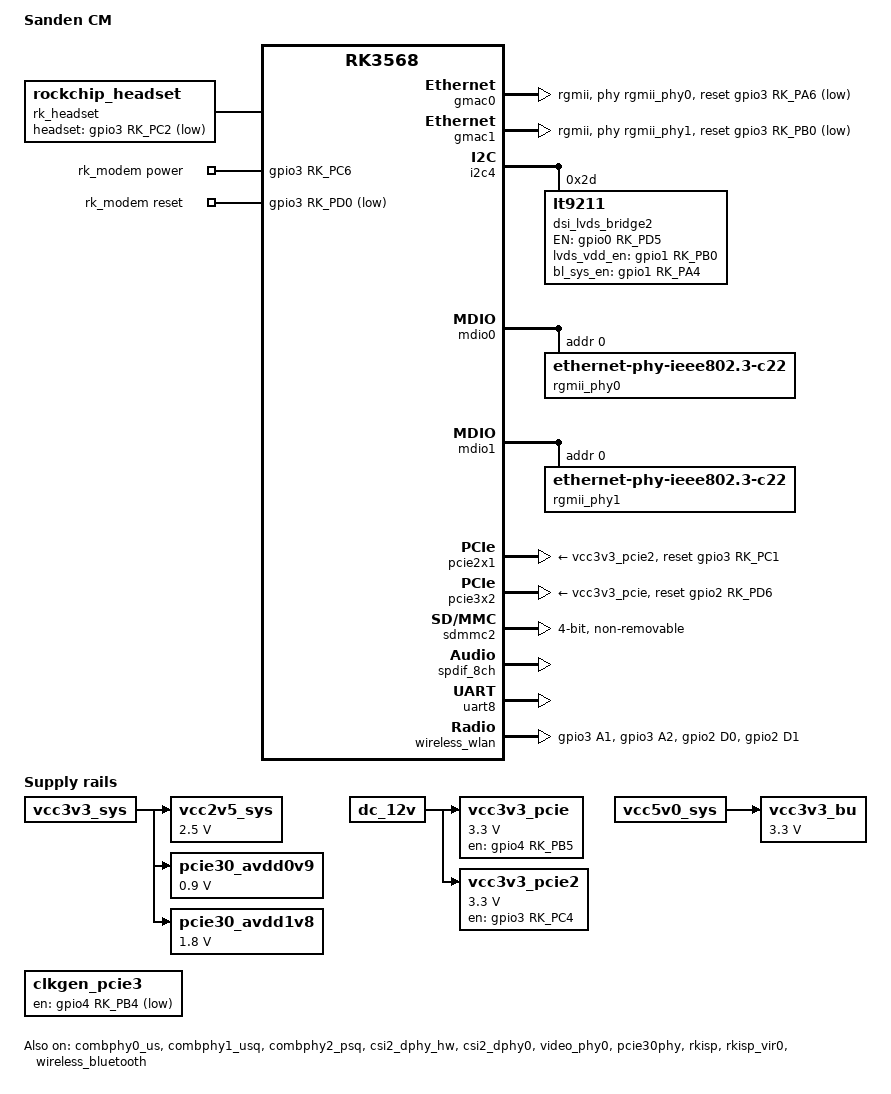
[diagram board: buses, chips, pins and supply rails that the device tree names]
// SPDX-License-Identifier: (GPL-2.0+ OR MIT)
/*
 * Copyright (c) 2020 Rockchip Electronics Co., Ltd.
 *
 */

/dts-v1/;

#include <dt-bindings/gpio/gpio.h>
#include <dt-bindings/pinctrl/rockchip.h>
#include "rk3568.dtsi"
#include "rk3568-sanden_vm-common.dtsi"

/ {
	model = "Sanden CM";
	compatible = "rockchip,rk3568-evb1-ddr4-v10", "rockchip,rk3568";

	rk_headset: rk-headset {
		compatible = "rockchip_headset";
		headset_gpio = <&gpio3 RK_PC2 GPIO_ACTIVE_LOW>;
		pinctrl-names = "default";
		pinctrl-0 = <&hp_det>;
	};

	vcc2v5_sys: vcc2v5-ddr {
		compatible = "regulator-fixed";
		regulator-name = "vcc2v5-sys";
		regulator-always-on;
		regulator-boot-on;
		regulator-min-microvolt = <2500000>;
		regulator-max-microvolt = <2500000>;
		vin-supply = <&vcc3v3_sys>;
	};
/*
	vcc3v3_vga: vcc3v3-vga {
		compatible = "regulator-fixed";
		regulator-name = "vcc3v3_vga";
		regulator-always-on;
		regulator-boot-on;
		gpio = <&gpio0 RK_PD5 GPIO_ACTIVE_HIGH>;
		enable-active-high;
		vin-supply = <&vcc3v3_sys>;
	};
*/
	pcie30_avdd0v9: pcie30-avdd0v9 {
		compatible = "regulator-fixed";
		regulator-name = "pcie30_avdd0v9";
		regulator-always-on;
		regulator-boot-on;
		regulator-min-microvolt = <900000>;
		regulator-max-microvolt = <900000>;
		vin-supply = <&vcc3v3_sys>;
	};

	pcie30_avdd1v8: pcie30-avdd1v8 {
		compatible = "regulator-fixed";
		regulator-name = "pcie30_avdd1v8";
		regulator-always-on;
		regulator-boot-on;
		regulator-min-microvolt = <1800000>;
		regulator-max-microvolt = <1800000>;
		vin-supply = <&vcc3v3_sys>;
	};

	vcc3v3_pcie: pcie3-gpio-regulator {
		compatible = "regulator-fixed";
		regulator-name = "vcc3v3_pcie";
		regulator-min-microvolt = <3300000>;
		regulator-max-microvolt = <3300000>;
		enable-active-high;
		regulator-always-on;
		regulator-boot-on;
		gpio = <&gpio4 RK_PB5 GPIO_ACTIVE_HIGH>;
		startup-delay-us = <5000>;
		vin-supply = <&dc_12v>;
	};

	vcc3v3_pcie2: pcie2-gpio-regulator {
		compatible = "regulator-fixed";
		regulator-name = "vcc3v3_pcie2";
		regulator-min-microvolt = <3300000>;
		regulator-max-microvolt = <3300000>;
		enable-active-high;
		regulator-always-on;
		regulator-boot-on;
		gpio = <&gpio3 RK_PC4 GPIO_ACTIVE_HIGH>;
		startup-delay-us = <5000>;
		vin-supply = <&dc_12v>;
	};

        clkgen_pcie3: clkcgen-pcie3 {
                compatible = "regulator-fixed";
                regulator-name = "clkgen_pcie3";
                gpio = <&gpio4 RK_PB4 GPIO_ACTIVE_LOW>;
                regulator-boot-on;
                regulator-always-on;
        };

	vcc3v3_bu: vcc3v3-bu {
		compatible = "regulator-fixed";
		regulator-name = "vcc3v3_bu";
		regulator-always-on;
		regulator-boot-on;
		regulator-min-microvolt = <3300000>;
		regulator-max-microvolt = <3300000>;
		vin-supply = <&vcc5v0_sys>;
	};

	rk_modem: rk-modem {
		compatible = "4g-modem-platdata";
		pinctrl-names = "default";
		pinctrl-0 = <&m2b_reset
			&m2b_w_dis1_n
			&m2b_w_dis2_n
			&wake_on_wan_n
			&pcie30_2_waken_m1
			&pcie30_2_clkreqn_m1>;
		4G,power-gpio = <&gpio3 RK_PC6 GPIO_ACTIVE_HIGH>;
		4G,reset-gpio = <&gpio3 RK_PD0 GPIO_ACTIVE_LOW>;
		status = "okay";
	};

	panel_edp: panel-edp {
		compatible = "simple-panel";
		status = "disabled";
		width-mm = <344>;
		height-mm = <193>;
		bus-format = <0x100a>;//<MEDIA_BUS_FMT_RGB888_1X24>;
		bpc = <8>;
		backlight = <&backlight>;
		pinctrl-names = "default";
		pinctrl-0 =  <&pinctrl_vdd_en &pinctrl_bl_sys_en>;
		bl_sys_en-gpios = <&gpio1 RK_PA4 GPIO_ACTIVE_HIGH>;
		enable-gpios = <&gpio1 RK_PB0 GPIO_ACTIVE_HIGH>;
		disable-delay-ms = <500>; //power off time t12 500ms

		display-timings {
				native-mode = <&timing0>;

				timing0: timing0 {
					clock-frequency = <142000000>;
				    hactive = <1920>;
					vactive = <1080>;
				    hfront-porch = <108>;
				    hsync-len = <48>;
				    hback-porch = <24>;
				    vfront-porch = <10>;
				    vsync-len = <10>;
				    vback-porch = <26>;
					hsync-active = <0>;
				    vsync-active = <0>;
				    de-active = <1>;
				    pixelclk-active = <0>;
				};
		};

		port {
			panel_in_edp: endpoint {
				remote-endpoint = <&panel_out_edp>;
			};
		};
	};
};

&combphy0_us {
	status = "okay";
};

&combphy1_usq {
	status = "okay";
};

&combphy2_psq {
	status = "okay";
};

&csi2_dphy_hw {
	status = "okay";
};

&csi2_dphy0 {
	status = "okay";

	ports {
		#address-cells = <1>;
		#size-cells = <0>;
		port@0 {
			reg = <0>;
			#address-cells = <1>;
			#size-cells = <0>;

			mipi_in_ucam0: endpoint@1 {
				reg = <1>;
				remote-endpoint = <&ucam_out0>;
				data-lanes = <1 2 3 4>;
			};
			mipi_in_ucam1: endpoint@2 {
				reg = <2>;
				remote-endpoint = <&gc8034_out>;
				data-lanes = <1 2 3 4>;
			};
			mipi_in_ucam2: endpoint@3 {
				reg = <3>;
				remote-endpoint = <&ov5695_out>;
				data-lanes = <1 2>;
			};
		};
		port@1 {
			reg = <1>;
			#address-cells = <1>;
			#size-cells = <0>;

			csidphy_out: endpoint@0 {
				reg = <0>;
				remote-endpoint = <&isp0_in>;
			};
		};
	};
};

/*
 * video_phy0 needs to be enabled
 * when dsi0 is enabled
 */
&dsi0 {
	status = "disabled";
};

&dsi0_in_vp0 {
	status = "disabled";
};

&dsi0_in_vp1 {
	status = "disabled";
};
/*
&dsi0_panel {
	power-supply = <&vcc3v3_lcd0_n>;
};
*/
/*
 * video_phy1 needs to be enabled
 * when dsi1 is enabled
 */
&dsi1 {
	status = "disabled";
};

&dsi1_in_vp0 {
	status = "disabled";
};

&dsi1_in_vp1 {
	status = "disabled";
};

&dsi1_panel {
	power-supply = <&vcc3v3_lcd1_n>;
};

&edp {
	pinctrl-names = "default";
	force-hpd;
	//pinctrl-0 =  <&pinctrl_hpd>;
	//hpd-gpios = <&gpio0 RK_PC2 GPIO_ACTIVE_HIGH>;
	status = "disabled";

	ports{
		port@1{
			reg = <1>;
			panel_out_edp: endpoint {
				remote-endpoint = <&panel_in_edp>;
			};
		};
	};
};

&pwm6 {
	status = "disabled";
};

&edp_phy {
	status = "disabled";
};

&edp_in_vp0 {
	status = "disabled";
};

&edp_in_vp1 {
	status = "disabled";
};

&gmac0 {
	phy-mode = "rgmii";
	clock_in_out = "output";

	pinctrl-names = "default";
	pinctrl-0 = <&gmac0_pmeb_gpios>;
	wolirq-gpio = <&gpio3 RK_PA5 GPIO_ACTIVE_LOW>;

	snps,reset-gpio = <&gpio3 RK_PA6 GPIO_ACTIVE_LOW>;
	snps,reset-active-low;
	/* Reset time > 20ms, 100ms for rtl8211f */
	snps,reset-delays-us = <0 50000 200000>;

	assigned-clocks = <&cru SCLK_GMAC0_RX_TX>, <&cru SCLK_GMAC0>;
	assigned-clock-parents = <&cru SCLK_GMAC0_RGMII_SPEED>, <&cru CLK_MAC0_2TOP>;
	assigned-clock-rates = <0>, <125000000>;

	pinctrl-names = "default";
	pinctrl-0 = <&gmac0_miim
		     &gmac0_tx_bus2
		     &gmac0_rx_bus2
		     &gmac0_rgmii_clk
		     &gmac0_rgmii_bus>;

	tx_delay = <0x3e>;
	rx_delay = <0x2d>;

	phy-handle = <&rgmii_phy0>;
	status = "okay";
};

&gmac1 {
	phy-mode = "rgmii";
	clock_in_out = "output";

	pinctrl-names = "default";
	pinctrl-0 = <&gmac1_pmeb_gpios>;
	wolirq-gpio = <&gpio3 RK_PA7 GPIO_ACTIVE_LOW>;

	snps,reset-gpio = <&gpio3 RK_PB0 GPIO_ACTIVE_LOW>;
	snps,reset-active-low;
	/* Reset time > 20ms, 100ms for rtl8211f */
	snps,reset-delays-us = <0 50000 200000>;

	assigned-clocks = <&cru SCLK_GMAC1_RX_TX>, <&cru SCLK_GMAC1>;
	assigned-clock-parents = <&cru SCLK_GMAC1_RGMII_SPEED>, <&cru CLK_MAC1_2TOP>;
	assigned-clock-rates = <0>, <125000000>;

	pinctrl-names = "default";
	pinctrl-0 = <&gmac1m1_miim
		     &gmac1m1_tx_bus2
		     &gmac1m1_rx_bus2
		     &gmac1m1_rgmii_clk
		     &gmac1m1_rgmii_bus>;

	tx_delay = <0x4b>;
	rx_delay = <0x29>;

	phy-handle = <&rgmii_phy1>;
	status = "okay";
};

/*
 * power-supply should switche to vcc3v3_lcd1_n
 * when mipi panel is connected to dsi1.
 */
&gt1x {
	power-supply = <&vcc3v3_lcd0_n>;
};

&i2c4 {
	status = "okay";
	gc8034: gc8034@37 {
		compatible = "galaxycore,gc8034";
		status = "disabled";
		reg = <0x37>;
		clocks = <&cru CLK_CIF_OUT>;
		clock-names = "xvclk";
		pinctrl-names = "default";
		pinctrl-0 = <&cif_clk>;
		power-domains = <&power RK3568_PD_VI>;
		reset-gpios = <&gpio3 RK_PB6 GPIO_ACTIVE_LOW>;
		//pwdn-gpios = <&gpio4 RK_PB4 GPIO_ACTIVE_LOW>;
		rockchip,grf = <&grf>;
		rockchip,camera-module-index = <0>;
		rockchip,camera-module-facing = "back";
		rockchip,camera-module-name = "RK-CMK-8M-2-v1";
		rockchip,camera-module-lens-name = "CK8401";
		port {
			gc8034_out: endpoint {
				remote-endpoint = <&mipi_in_ucam1>;
				data-lanes = <1 2 3 4>;
			};
		};
	};
	os04a10: os04a10@36 {
		compatible = "ovti,os04a10";
		status = "disabled";
		reg = <0x36>;
		clocks = <&cru CLK_CIF_OUT>;
		clock-names = "xvclk";
		power-domains = <&power RK3568_PD_VI>;
		pinctrl-names = "default";
		pinctrl-0 = <&cif_clk>;
		reset-gpios = <&gpio3 RK_PB6 GPIO_ACTIVE_LOW>;
		pwdn-gpios = <&gpio4 RK_PB4 GPIO_ACTIVE_HIGH>;
		rockchip,camera-module-index = <0>;
		rockchip,camera-module-facing = "back";
		rockchip,camera-module-name = "CMK-OT1607-FV1";
		rockchip,camera-module-lens-name = "M12-40IRC-4MP-F16";
		port {
			ucam_out0: endpoint {
				remote-endpoint = <&mipi_in_ucam0>;
				data-lanes = <1 2 3 4>;
			};
		};
	};
	ov5695: ov5695@36 {
		status = "disabled";
		compatible = "ovti,ov5695";
		reg = <0x36>;
		clocks = <&cru CLK_CIF_OUT>;
		clock-names = "xvclk";
		power-domains = <&power RK3568_PD_VI>;
		pinctrl-names = "default";
		pinctrl-0 = <&cif_clk>;
		reset-gpios = <&gpio3 RK_PB6 GPIO_ACTIVE_HIGH>;
		pwdn-gpios = <&gpio4 RK_PB4 GPIO_ACTIVE_HIGH>;
		rockchip,camera-module-index = <0>;
		rockchip,camera-module-facing = "back";
		rockchip,camera-module-name = "TongJu";
		rockchip,camera-module-lens-name = "CHT842-MD";
		port {
			ov5695_out: endpoint {
				remote-endpoint = <&mipi_in_ucam2>;
				data-lanes = <1 2>;
			};
		};
	};

	dsi_lvds_bridge2: lt9211@2d {
		compatible = "lt9211";
		status = "okay";
		reg = <0x2d>;

		lvds-format = <2>;//VESA
		lvds-bpp = <24>;///RGB888
		dsi-lanes = <4>;//u-boot
		de-mode;
		//dual-link;
		Tinker3;
		//enable-overlay;
		//uboot-logo;
		//test-pattern;

		t1=<30>;//VCC on to start lvds signal
		t2=<250>;//t2-t6: LVDS signal(start) to turn Backlihgt on or Backlight sys Enable
		t3=<160>;//Backlight sys Disable or Backlihgt(off) to stop lvds signal
		t4=<1>;//LVDS signal to turn VCC off
		t5=<1000>;//VCC off to turn VCC on
		t6=<0>;//Backlight sys Enable to turn Backlight on
		t7=<0>;//Backlight off to Backlight sys Disable
		//t1 -> t2-t6 -> t6 -> t3 -> t7 -> t4 -> t5

		pinctrl-names = "default";
		pinctrl-0 =  <&pinctrl_lt9211_en &pinctrl_vdd_en &pinctrl_bl_sys_en>;

		EN-gpios = <&gpio0 RK_PD5 GPIO_ACTIVE_HIGH>;
		lvds_vdd_en-gpios = <&gpio1 RK_PB0 GPIO_ACTIVE_HIGH>;
		bl_sys_en-gpios = <&gpio1 RK_PA4 GPIO_ACTIVE_HIGH>;
	};
};

&mdio0 {
	rgmii_phy0: phy@0 {
		compatible = "ethernet-phy-ieee802.3-c22";
		reg = <0x0>;
	};
};

&mdio1 {
	rgmii_phy1: phy@0 {
		compatible = "ethernet-phy-ieee802.3-c22";
		reg = <0x0>;
	};
};

&video_phy0 {
	status = "okay";
};

&video_phy1 {
	status = "disabled";
};

&pcie2x1 {
	reset-gpios = <&gpio3 RK_PC1 GPIO_ACTIVE_HIGH>;
	vpcie3v3-supply = <&vcc3v3_pcie2>;
	status = "okay";
};

&pcie30phy {
	status = "okay";
};

&pcie3x2 {
	reset-gpios = <&gpio2 RK_PD6 GPIO_ACTIVE_HIGH>;
	vpcie3v3-supply = <&vcc3v3_pcie>;
	status = "okay";
};

&pinctrl {
	headphone {
		hp_det: hp-det {
			rockchip,pins = <3 RK_PC2 RK_FUNC_GPIO &pcfg_pull_none>;
		};
	};

	wireless-wlan {
		wifi_host_wake_irq: wifi-host-wake-irq {
			rockchip,pins = <3 RK_PD4 RK_FUNC_GPIO &pcfg_pull_down>;
		};

		wifi_power_gpios: wifi-power-gpios {
			rockchip,pins = <3 RK_PA1 RK_FUNC_GPIO &pcfg_pull_none>,
					<3 RK_PA2 RK_FUNC_GPIO &pcfg_pull_none>,
					<2 RK_PD0 RK_FUNC_GPIO &pcfg_pull_up>,
					<2 RK_PD1 RK_FUNC_GPIO &pcfg_pull_up>;
		};
	};

	panel-control {
		pinctrl_hpd: hdp {
			rockchip,pins = <0 RK_PC2 RK_FUNC_GPIO &pcfg_pull_none>;
		};

		pinctrl_vdd_en: vdd_en {
			rockchip,pins = <1 RK_PB0 RK_FUNC_GPIO &pcfg_pull_none>;
		};

		pinctrl_bl_sys_en: bl_sys_en {
			rockchip,pins = <1 RK_PA4 RK_FUNC_GPIO &pcfg_pull_none>;
		};

		pinctrl_bl_en: bl_en {
			rockchip,pins = <3 RK_PA3 RK_FUNC_GPIO &pcfg_pull_none>;
		};

		pinctrl_lt9211_en: lt9211_en {
			rockchip,pins = <0 RK_PD5 RK_FUNC_GPIO &pcfg_pull_none>;
		};
	};

	rk-modem {
		m2b_reset: m2b-reset {
			rockchip,pins = <3 RK_PD0 RK_FUNC_GPIO &pcfg_pull_down>;
		};

		m2b_w_dis1_n: m2b-w-dis1-n {
			rockchip,pins = <2 RK_PD3 RK_FUNC_GPIO &pcfg_pull_up>;
		};

		m2b_w_dis2_n: m2b-w-dis2-n {
			rockchip,pins = <3 RK_PC7 RK_FUNC_GPIO &pcfg_pull_up>;
		};

		wake_on_wan_n: wake-on-wan-n {
			rockchip,pins = <3 RK_PD1 RK_FUNC_GPIO &pcfg_pull_up>;
		};

		pcie30_2_waken_m1: pcie30-2-waken-m1 {
			rockchip,pins = <2 RK_PD5 RK_FUNC_GPIO &pcfg_pull_up>;
		};

		pcie30_2_clkreqn_m1: pcie30-2-clkreqn-m1 {
			rockchip,pins = <2 RK_PD4 RK_FUNC_GPIO &pcfg_pull_up>;
		};
	};

	gmac-wol {
		gmac0_pmeb_gpios:  gmac0-pmeb-gpios {
			rockchip,pins = <3 RK_PA5 RK_FUNC_GPIO &pcfg_pull_none>;
		};

		gmac1_pmeb_gpios:  gmac1-pmeb-gpios {
			rockchip,pins = <3 RK_PA7 RK_FUNC_GPIO &pcfg_pull_none>;
		};
	};

	uart3 {
		uart3_rs232: uart3-rs232 {
			rockchip,pins =
				/* COM3_R_DIS */
				<0 RK_PA6 RK_FUNC_GPIO &pcfg_output_high>,
				/* COM3_MODE0 */
				<1 RK_PA0 RK_FUNC_GPIO &pcfg_output_low>,
				/* COM3_MODE1 */
				<1 RK_PA1 RK_FUNC_GPIO &pcfg_output_low>;
		};

                uart3_rs485: uart3-rs485 {
                        rockchip,pins =
                                /* COM3_R_DIS */
                                <0 RK_PA6 RK_FUNC_GPIO &pcfg_output_low>,
                                /* COM3_MODE0 */
                                <1 RK_PA0 RK_FUNC_GPIO &pcfg_output_high>,
                                /* COM3_MODE1 */
                                <1 RK_PA1 RK_FUNC_GPIO &pcfg_output_low>;
                };
	};
};

&rkisp {
	status = "okay";
};

&rkisp_mmu {
	status = "okay";
};

&rkisp_vir0 {
	status = "okay";

	port {
		#address-cells = <1>;
		#size-cells = <0>;

		isp0_in: endpoint@0 {
			reg = <0>;
			remote-endpoint = <&csidphy_out>;
		};
	};
};

&route_dsi0 {
	status = "disabled";
	connect = <&vp1_out_dsi0>;
};

&sata2 {
	status = "disabled";
};

&sdmmc2 {
	max-frequency = <150000000>;
	no-sd;
	no-mmc;
	bus-width = <4>;
	disable-wp;
	cap-sd-highspeed;
	cap-sdio-irq;
	keep-power-in-suspend;
	mmc-pwrseq = <&sdio_pwrseq>;
	non-removable;
	pinctrl-names = "default";
	pinctrl-0 = <&sdmmc2m0_bus4 &sdmmc2m0_cmd>;
	sd-uhs-sdr104;
	status = "okay";
};

&spdif_8ch {
	status = "okay";
	pinctrl-names = "default";
	pinctrl-0 = <&spdifm1_tx>;
};

&uart8 {
	status = "okay";
	pinctrl-names = "default";
	pinctrl-0 = <&uart8m0_xfer &uart8m0_ctsn>;
};

&vcc3v3_lcd0_n {
	enable-active-high;
};

&vcc3v3_lcd1_n {
	gpio = <&gpio0 RK_PC5 GPIO_ACTIVE_HIGH>;
	enable-active-high;
};

&wireless_wlan {
	pinctrl-names = "default";
	pinctrl-0 = <&wifi_power_gpios>;
	WIFI,m2e_dis1_n = <&gpio3 RK_PA1 GPIO_ACTIVE_HIGH>;
	WIFI,m2e_dis2_n = <&gpio3 RK_PA2 GPIO_ACTIVE_HIGH>;
	WIFI,host_wake_irq = <&gpio2 RK_PD1 GPIO_ACTIVE_HIGH>;
	status = "okay";
};

&wireless_bluetooth {
	compatible = "bluetooth-platdata";
	clocks = <&rk809 1>;
	clock-names = "ext_clock";
	//wifi-bt-power-toggle;
	status = "okay";
};

&cpu0_opp_table {
        opp-1992000000 {
                opp-supported-hw = <0xf9 0xffff>;
                opp-hz = /bits/ 64 <1992000000>;
                opp-microvolt = <1150000 1150000 1150000>;
                opp-microvolt-L0 = <1150000 1150000 1150000>;
                opp-microvolt-L1 = <1150000 1150000 1150000>;
                opp-microvolt-L2 = <1125000 1125000 1150000>;
                opp-microvolt-L3 = <1100000 1100000 1150000>;
                clock-latency-ns = <40000>;
        };

        opp-j-408000000 {
                opp-supported-hw = <0x04 0xffff>;
                opp-hz = /bits/ 64 <408000000>;
                opp-microvolt = <850000 850000 1150000>;
                clock-latency-ns = <40000>;
        };

        opp-j-600000000 {
                opp-supported-hw = <0x04 0xffff>;
                opp-hz = /bits/ 64 <600000000>;
                opp-microvolt = <850000 850000 1150000>;
                clock-latency-ns = <40000>;
        };

        opp-j-816000000 {
                opp-supported-hw = <0x04 0xffff>;
                opp-hz = /bits/ 64 <816000000>;
                opp-microvolt = <850000 850000 1150000>;
                clock-latency-ns = <40000>;
                opp-suspend;
        };

        /* RK3568J cpu OPPs */
        opp-j-1008000000 {
                opp-supported-hw = <0x04 0xffff>;
                opp-hz = /bits/ 64 <1008000000>;
                opp-microvolt = <850000 850000 1150000>;
                clock-latency-ns = <40000>;
        };

        opp-j-1104000000 {
                opp-supported-hw = <0x04 0xffff>;
                opp-hz = /bits/ 64 <1104000000>;
                opp-microvolt = <900000 900000 1150000>;
                opp-microvolt-L0 = <900000 900000 1150000>;
                opp-microvolt-L1 = <850000 850000 1150000>;
                opp-microvolt-L2 = <850000 850000 1150000>;
                opp-microvolt-L3 = <850000 850000 1150000>;
                clock-latency-ns = <40000>;
        };

        opp-j-1416000000 {
                opp-supported-hw = <0x04 0xffff>;
                opp-hz = /bits/ 64 <1416000000>;
                opp-microvolt = <900000 900000 1150000>;
                clock-latency-ns = <40000>;
        };

        opp-j-1608000000 {
                opp-supported-hw = <0x04 0xffff>;
                opp-hz = /bits/ 64 <1608000000>;
                opp-microvolt = <1100000 1100000 1150000>;
                opp-microvolt-L0 = <1100000 1100000 1150000>;
                opp-microvolt-L1 = <1050000 1050000 1150000>;
                opp-microvolt-L2 = <1025000 1025000 1150000>;
                opp-microvolt-L3 = <1000000 1000000 1150000>;
                clock-latency-ns = <40000>;
        };

        opp-j-1800000000 {
                opp-supported-hw = <0x04 0xffff>;
                opp-hz = /bits/ 64 <1800000000>;
                opp-microvolt = <1150000 1150000 1150000>;
                opp-microvolt-L0 = <1150000 1150000 1150000>;
                opp-microvolt-L1 = <1100000 1100000 1150000>;
                opp-microvolt-L2 = <1075000 1075000 1150000>;
                opp-microvolt-L3 = <1050000 1050000 1150000>;
                clock-latency-ns = <40000>;
        };


        /* RK3568M cpu OPPs */
        opp-m-408000000 {
                opp-supported-hw = <0x02 0xffff>;
                opp-hz = /bits/ 64 <408000000>;
                opp-microvolt = <850000 850000 1150000>;
                clock-latency-ns = <40000>;
        };

        opp-m-600000000 {
                opp-supported-hw = <0x02 0xffff>;
                opp-hz = /bits/ 64 <600000000>;
                opp-microvolt = <850000 850000 1150000>;
                clock-latency-ns = <40000>;
        };

        opp-m-816000000 {
                opp-supported-hw = <0x02 0xffff>;
                opp-hz = /bits/ 64 <816000000>;
                opp-microvolt = <850000 850000 1150000>;
                clock-latency-ns = <40000>;
                opp-suspend;
        };

        opp-m-1104000000 {
                opp-supported-hw = <0x02 0xffff>;
                opp-hz = /bits/ 64 <1104000000>;
                opp-microvolt = <900000 900000 1150000>;
                opp-microvolt-L0 = <900000 900000 1150000>;
                opp-microvolt-L1 = <850000 850000 1150000>;
                opp-microvolt-L2 = <850000 850000 1150000>;
                opp-microvolt-L3 = <850000 850000 1150000>;
                clock-latency-ns = <40000>;
        };

        opp-m-1416000000 {
                opp-supported-hw = <0x02 0xffff>;
                opp-hz = /bits/ 64 <1416000000>;
                opp-microvolt = <1025000 1025000 1150000>;
                opp-microvolt-L0 = <1025000 1025000 1150000>;
                opp-microvolt-L1 = <975000 975000 1150000>;
                opp-microvolt-L2 = <950000 950000 1150000>;
                opp-microvolt-L3 = <925000 925000 1150000>;
                clock-latency-ns = <40000>;
        };

        opp-m-1608000000 {
                opp-supported-hw = <0x02 0xffff>;
                opp-hz = /bits/ 64 <1608000000>;
                opp-microvolt = <1000000 1000000 1150000>;
                clock-latency-ns = <40000>;
        };

        opp-m-1800000000 {
                opp-supported-hw = <0x02 0xffff>;
                opp-hz = /bits/ 64 <1800000000>;
                opp-microvolt = <1150000 1150000 1150000>;
                opp-microvolt-L0 = <1150000 1150000 1150000>;
                opp-microvolt-L1 = <1100000 1100000 1150000>;
                opp-microvolt-L2 = <1075000 1075000 1150000>;
                opp-microvolt-L3 = <1050000 1050000 1150000>;
                clock-latency-ns = <40000>;
        };

};

&gpu_opp_table {
        /* RK3568J gpu OPPs */
        opp-j-200000000 {
                opp-supported-hw = <0x04 0xffff>;
                opp-hz = /bits/ 64 <200000000>;
                opp-microvolt = <850000 850000 1000000>;
        };

        opp-j-300000000 {
                opp-supported-hw = <0x04 0xffff>;
                opp-hz = /bits/ 64 <300000000>;
                opp-microvolt = <850000 850000 1000000>;
        };

        opp-j-400000000 {
                opp-supported-hw = <0x04 0xffff>;
                opp-hz = /bits/ 64 <400000000>;
                opp-microvolt = <850000 850000 1000000>;
        };

        opp-j-600000000 {
                opp-supported-hw = <0x04 0xffff>;
                opp-hz = /bits/ 64 <600000000>;
                opp-microvolt = <900000 900000 1000000>;
        };

        opp-j-700000000 {
                opp-supported-hw = <0x04 0xffff>;
                opp-hz = /bits/ 64 <700000000>;
                opp-microvolt = <950000 950000 1000000>;
                opp-microvolt-L0 = <950000 950000 1000000>;
                opp-microvolt-L1 = <925000 925000 1000000>;
                opp-microvolt-L2 = <900000 900000 1000000>;
                opp-microvolt-L3 = <875000 875000 1000000>;
        };

        opp-j-800000000 {
                opp-supported-hw = <0x04 0xffff>;
                opp-hz = /bits/ 64 <800000000>;
                opp-microvolt = <1000000 1000000 1000000>;
                opp-microvolt-L0 = <1000000 1000000 1000000>;
                opp-microvolt-L1 = <975000 975000 1000000>;
                opp-microvolt-L2 = <950000 950000 1000000>;
                opp-microvolt-L3 = <925000 925000 1000000>;
        };

        /* RK3568M gpu OPPs */
        opp-m-200000000 {
                opp-supported-hw = <0x02 0xffff>;
                opp-hz = /bits/ 64 <200000000>;
                opp-microvolt = <850000 850000 1000000>;
        };

        opp-m-300000000 {
                opp-supported-hw = <0x02 0xffff>;
                opp-hz = /bits/ 64 <300000000>;
                opp-microvolt = <850000 850000 1000000>;
        };

        opp-m-400000000 {
                opp-supported-hw = <0x02 0xffff>;
                opp-hz = /bits/ 64 <400000000>;
                opp-microvolt = <850000 850000 1000000>;
        };

        opp-m-600000000 {
                opp-supported-hw = <0x02 0xffff>;
                opp-hz = /bits/ 64 <600000000>;
                opp-microvolt = <900000 900000 1000000>;
                opp-microvolt-L0 = <900000 900000 1000000>;
                opp-microvolt-L1 = <875000 875000 1000000>;
                opp-microvolt-L2 = <850000 850000 1000000>;
                opp-microvolt-L3 = <850000 850000 1000000>;
        };

        opp-m-700000000 {
                opp-supported-hw = <0x02 0xffff>;
                opp-hz = /bits/ 64 <700000000>;
                opp-microvolt = <950000 950000 1000000>;
                opp-microvolt-L0 = <950000 950000 1000000>;
                opp-microvolt-L1 = <925000 925000 1000000>;
                opp-microvolt-L2 = <900000 900000 1000000>;
                opp-microvolt-L3 = <875000 875000 1000000>;
        };

        opp-m-800000000 {
                opp-supported-hw = <0x02 0xffff>;
                opp-hz = /bits/ 64 <800000000>;
                opp-microvolt = <950000 950000 1000000>;
        };
};

&npu_opp_table {
        /* RK3568J npu OPPs */
        opp-j-200000000 {
                opp-supported-hw = <0x04 0xffff>;
                opp-hz = /bits/ 64 <200000000>;
                opp-microvolt = <850000 850000 1000000>;
        };
        opp-j-300000000 {
                opp-supported-hw = <0x04 0xffff>;
                opp-hz = /bits/ 64 <297000000>;
                opp-microvolt = <850000 850000 1000000>;
        };
        opp-j-400000000 {
                opp-supported-hw = <0x04 0xffff>;
                opp-hz = /bits/ 64 <400000000>;
                opp-microvolt = <850000 850000 1000000>;
        };

        opp-j-600000000 {
                opp-supported-hw = <0x04 0xffff>;
                opp-hz = /bits/ 64 <600000000>;
                opp-microvolt = <900000 900000 1000000>;
        };

        opp-j-700000000 {
                opp-supported-hw = <0x04 0xffff>;
                opp-hz = /bits/ 64 <700000000>;
                opp-microvolt = <875000 875000 1000000>;
                opp-microvolt-L0 = <875000 875000 1000000>;
                opp-microvolt-L1 = <850000 850000 1000000>;
                opp-microvolt-L2 = <850000 850000 1000000>;
                opp-microvolt-L3 = <850000 850000 1000000>;
        };
        opp-j-800000000 {
                opp-supported-hw = <0x04 0xffff>;
                opp-hz = /bits/ 64 <800000000>;
                opp-microvolt = <925000 925000 1000000>;
                opp-microvolt-L0 = <925000 925000 1000000>;
                opp-microvolt-L1 = <900000 900000 1000000>;
                opp-microvolt-L2 = <875000 875000 1000000>;
                opp-microvolt-L3 = <875000 875000 1000000>;
        };
        opp-j-900000000 {
                opp-supported-hw = <0x04 0xffff>;
                opp-hz = /bits/ 64 <900000000>;
                opp-microvolt = <975000 975000 1000000>;
                opp-microvolt-L0 = <975000 975000 1000000>;
                opp-microvolt-L1 = <950000 950000 1000000>;
                opp-microvolt-L2 = <925000 925000 1000000>;
                opp-microvolt-L3 = <900000 900000 1000000>;
        };
        opp-j-1000000000 {
                opp-supported-hw = <0x04 0xffff>;
                opp-hz = /bits/ 64 <1000000000>;
                opp-microvolt = <1000000 1000000 1000000>;
                opp-microvolt-L0 = <1000000 1000000 1000000>;
                opp-microvolt-L1 = <975000 975000 1000000>;
                opp-microvolt-L2 = <950000 950000 1000000>;
                opp-microvolt-L3 = <925000 925000 1000000>;
                status = "disabled";
        };

        /* RK3568M npu OPPs */
        opp-m-200000000 {
                opp-supported-hw = <0x02 0xffff>;
                opp-hz = /bits/ 64 <200000000>;
                opp-microvolt = <850000 850000 1000000>;
        };
        opp-m-300000000 {
                opp-supported-hw = <0x02 0xffff>;
                opp-hz = /bits/ 64 <297000000>;
                opp-microvolt = <850000 850000 1000000>;
        };
        opp-m-400000000 {
                opp-supported-hw = <0x02 0xffff>;
                opp-hz = /bits/ 64 <400000000>;
                opp-microvolt = <850000 850000 1000000>;
        };

        opp-m-600000000 {
                opp-supported-hw = <0x02 0xffff>;
                opp-hz = /bits/ 64 <600000000>;
                opp-microvolt = <850000 850000 1000000>;
        };

        opp-m-700000000 {
                opp-supported-hw = <0x02 0xffff>;
                opp-hz = /bits/ 64 <700000000>;
                opp-microvolt = <875000 875000 1000000>;
                opp-microvolt-L0 = <875000 875000 1000000>;
                opp-microvolt-L1 = <850000 850000 1000000>;
                opp-microvolt-L2 = <850000 850000 1000000>;
                opp-microvolt-L3 = <850000 850000 1000000>;
        };
        opp-m-800000000 {
                opp-supported-hw = <0x02 0xffff>;
                opp-hz = /bits/ 64 <800000000>;
                opp-microvolt = <925000 925000 1000000>;
                opp-microvolt-L0 = <925000 925000 1000000>;
                opp-microvolt-L1 = <900000 900000 1000000>;
                opp-microvolt-L2 = <875000 875000 1000000>;
                opp-microvolt-L3 = <875000 875000 1000000>;
        };

        opp-m-900000000 {
                opp-supported-hw = <0x02 0xffff>;
                opp-hz = /bits/ 64 <900000000>;
                opp-microvolt = <925000 925000 1000000>;
        };
        opp-m-1000000000 {
                opp-supported-hw = <0x02 0xffff>;
                opp-hz = /bits/ 64 <1000000000>;
                opp-microvolt = <1000000 1000000 1000000>;
                opp-microvolt-L0 = <1000000 1000000 1000000>;
                opp-microvolt-L1 = <975000 975000 1000000>;
                opp-microvolt-L2 = <950000 950000 1000000>;
                opp-microvolt-L3 = <925000 925000 1000000>;
                status = "disabled";
        };

};
